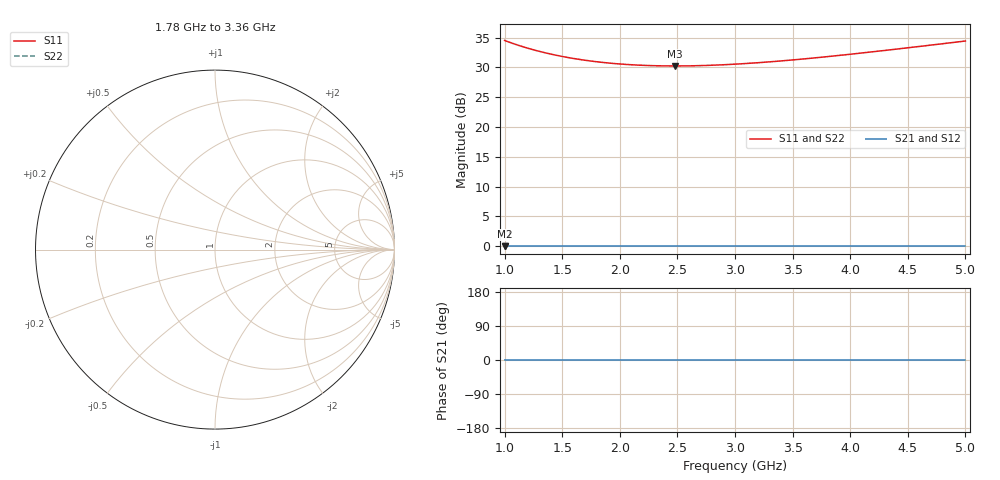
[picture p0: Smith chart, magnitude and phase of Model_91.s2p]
# GHZ S RI R 50
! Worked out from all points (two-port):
!   401 points, 1 GHz to 5 GHz, reference 50 ohm
!   highest |S21| = 0.00 dB at 1 GHz (marker M1); lowest = 0.0 dB at 1 GHz (marker M2)
!   |S21| within 3 dB of the highest: start of sweep to end of sweep
!   lowest |S11| = 30.2 dB at 2.48 GHz (marker M3)
!   |S11| at or under -10 dB: nowhere
!   |S22| runs from 30.2 to 34.5 dB; largest |S21 - S12| = 0
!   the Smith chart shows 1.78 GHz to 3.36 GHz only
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1  53.16 0  1 0  1 0  53.16 0
1.02  52.28 0  1 0  1 0  52.28 0
1.15  47.36 0  1 0  1 0  47.36 0
1.22  45.21 0  1 0  1 0  45.21 0
1.3  43.09 0  1 0  1 0  43.09 0
1.38  41.28 0  1 0  1 0  41.28 0
1.47  39.54 0  1 0  1 0  39.54 0
1.57  37.93 0  1 0  1 0  37.93 0
1.67  36.6 0  1 0  1 0  36.6 0
1.82  35.04 0  1 0  1 0  35.04 0
1.98  33.86 0  1 0  1 0  33.86 0
2.15  33.04 0  1 0  1 0  33.04 0
2.34  32.57 0  1 0  1 0  32.57 0
2.48  32.48 0  1 0  1 0  32.48 0
2.73  32.76 0  1 0  1 0  32.76 0
3  33.62 0  1 0  1 0  33.62 0
3.33  35.34 0  1 0  1 0  35.34 0
3.67  37.78 0  1 0  1 0  37.78 0
4  40.71 0  1 0  1 0  40.71 0
4.34  44.27 0  1 0  1 0  44.27 0
4.64  47.83 0  1 0  1 0  47.83 0
5  52.59 0  1 0  1 0  52.59 0
